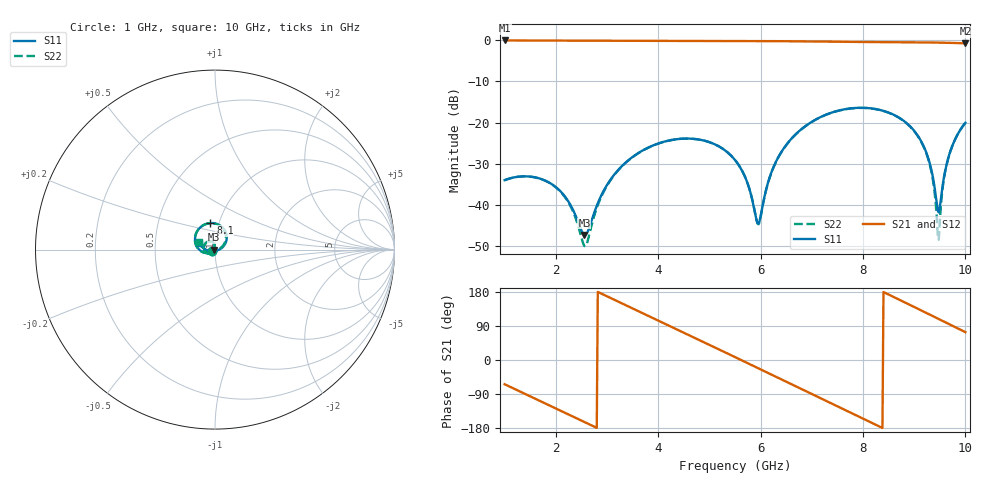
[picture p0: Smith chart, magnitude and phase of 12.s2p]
! Touchstone file exported from HFSS 2018.2.0
!  File:  C:/Users/10024/OneDrive - The University of Nottingham Ningbo China/Year 4/Final Year Project/HFSS project/Passive_Resonator_Antenna.aedt
!  Generated:  5:10:12 下午  3月 11, 2022
!  Design:  SMA_Thru
!  Project:  Passive_Resonator_Antenna
!  Setup:  Setup1
!  Solution:  Sweep
! Variables:
!  MW = 1.992mm
!  ThruL = 12mm
!  g = 0.2mm
!  subH = 0.8mm
!  subX = 20mm
!  subY = 22mm
!  tapW = 1.992mm
# GHZ S MA R 50.000000
! Modal data exported
! Port[1] = SMA_CONNECTOR1_1:1
! Port[2] = SMA_CONNECTOR2_1:1
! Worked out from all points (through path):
!   451 points, 1 GHz to 10 GHz, reference 50 ohm
!   highest |S21| = -0.02 dB at 1 GHz (marker M1); lowest = -0.7 dB at 10 GHz (marker M2)
!   group delay of S21, straight-line fit = 180 ps
!   lowest |S11| = -47.3 dB at 2.56 GHz (marker M3), VSWR 1.01, Z = 49.6 - j0.0582 ohm
!   |S11| at or under -10 dB: start of sweep to end of sweep
!   |S22| runs from -50.1 to -16.4 dB; largest |S21 - S12| = 1.8e-14
!   S11 on the Smith chart (normalised r, x): 1 GHz: 0.97, -0.02; 8.1 GHz: 0.91, +0.28; 10 GHz: 0.83, +0.06
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1  0.01994 -152.1  0.9983 -63.9  0.9983 -63.9  0.01993 -154.4
! Gamma ! 0.0151858380091057 30.371683611207 0.0151858380091571 30.3716836111864
! Port Impedance50 0 50 0
1.48  0.02209 179.0  0.9968 -94.6  0.9968 -94.6  0.02205 176.9
1.96  0.01717 153.2  0.9952 -125.3  0.9952 -125.3  0.01705 150.1
2.28  0.01012 144.0  0.994 -145.8  0.994 -145.8  0.009814 138.4
2.5  0.004887 166.6  0.9932 -159.8  0.9932 -159.8  0.003988 157.8
2.56  0.004294 -172.1  0.9929 -163.7  0.9929 -163.7  0.003151 -175.0
3.1  0.02157 -123.5  0.9904 161.8  0.9904 161.8  0.02125 -119.6
4  0.05567 -172.4  0.9858 104.1  0.9858 104.1  0.05552 -170.5
4.68  0.06352 146.6  0.9833 60.5  0.9833 60.5  0.06345 148.2
5.5  0.03506 99.8  0.9822 7.7  0.9822 7.7  0.03512 101.2
5.72  0.02009 93.2  0.9818 -6.5  0.9818 -6.5  0.02018 94.4
5.96  0.005905 157.2  0.981 -22.1  0.981 -22.1  0.005793 157.2
6.34  0.03737 -152.5  0.9786 -46.8  0.9786 -46.8  0.03712 -150.9
7  0.1023 170.4  0.9704 -89.8  0.9704 -89.8  0.1019 172.0
7.5  0.1388 138.7  0.9624 -122.3  0.9624 -122.3  0.1384 140.4
8.1  0.1502 99.8  0.955 -161.2  0.955 -161.2  0.1497 101.7
8.5  0.1324 73.2  0.9523 172.8  0.9523 172.8  0.1319 75.5
9.18  0.05238 22.1  0.9463 128.0  0.9463 128.0  0.05154 27.5
9.34  0.02591 1.7  0.9434 117.4  0.9434 117.4  0.02453 12.1
9.48  0.008071 -86.6  0.9401 108.1  0.9401 108.1  0.003766 -99.3
9.66  0.03612 -170.2  0.9348 96.1  0.9348 96.1  0.03579 -176.6
10  0.09947 157.4  0.9216 73.5  0.9216 73.5  0.09967 155.6
